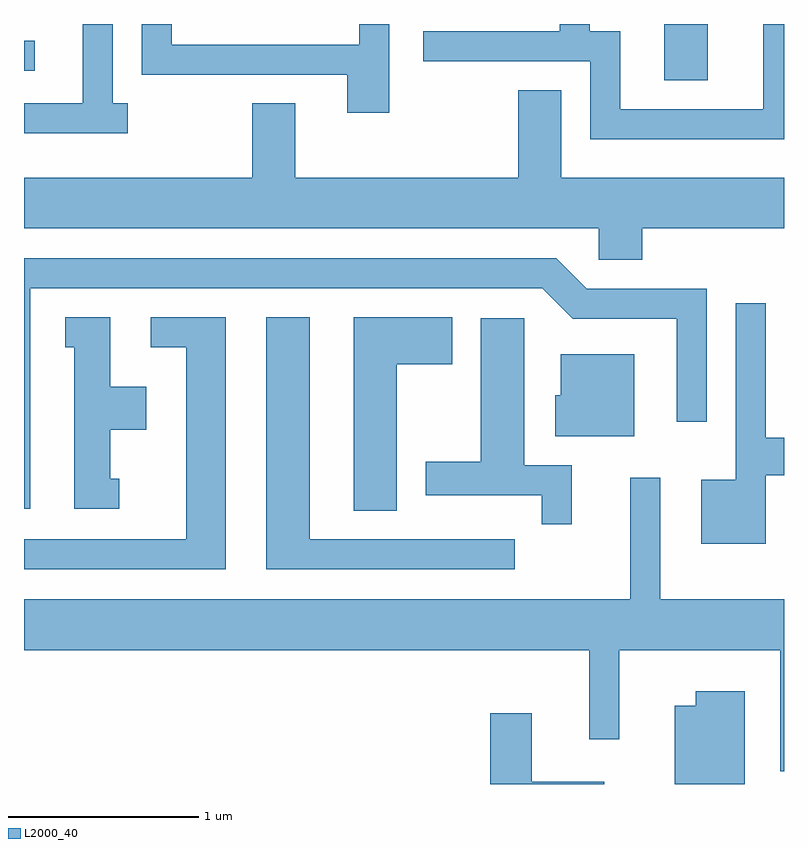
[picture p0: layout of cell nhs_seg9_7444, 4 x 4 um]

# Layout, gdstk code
import gdstk
lib = gdstk.Library(unit=1e-6, precision=1e-09)
def R(c, l, rs):  # rectangles x0, y0, x1, y1
    for r in rs: c.add(gdstk.rectangle(r[:2], r[2:], *l))
def P(c, l, *ps):  # polygons
    for p in ps: c.add(gdstk.Polygon(p, *l))
L2000_40 = (2000, 40)

nhs_seg9_7444 = lib.new_cell('nhs_seg9_7444')
R(nhs_seg9_7444, L2000_40, [(408.981,2008.136,409.209,2008.432), (405.611,2008.186,405.668,2008.344)])
P(nhs_seg9_7444, L2000_40, [(406.158,2008.014),(406.079,2008.014),(406.079,2008.432),(405.921,2008.432),(405.921,2008.014),(405.611,2008.014),(405.611,2007.856),(406.158,2007.856)],
  [(409.611,2008.432),(409.501,2008.432),(409.501,2007.984),(408.749,2007.984),(408.749,2008.394),(408.589,2008.394),(408.589,2008.432),(408.431,2008.432),(408.431,2008.394),(407.713,2008.394),(407.713,2008.236),(408.591,2008.236),(408.591,2007.826),(409.611,2007.826)],
  [(407.534,2008.432),(407.376,2008.432),(407.376,2008.324),(406.389,2008.324),(406.389,2008.432),(406.231,2008.432),(406.231,2008.166),(407.311,2008.166),(407.311,2007.966),(407.534,2007.966)],
  [(408.864,2007.356),(409.611,2007.356),(409.611,2007.624),(408.439,2007.624),(408.439,2008.084),(408.211,2008.084),(408.211,2007.624),(407.039,2007.624),(407.039,2008.014),(406.811,2008.014),(406.811,2007.624),(405.611,2007.624),(405.611,2007.356),(408.636,2007.356),(408.636,2007.191),(408.864,2007.191)],
  [(405.644,2007.041),(408.339,2007.041),(408.499,2006.881),(409.046,2006.881),(409.046,2006.338),(409.204,2006.338),(409.204,2007.039),(408.572,2007.039),(408.412,2007.199),(405.611,2007.199),(405.611,2005.881),(405.644,2005.881)],
  [(409.514,2006.056),(409.611,2006.056),(409.611,2006.254),(409.514,2006.254),(409.514,2006.963),(409.356,2006.963),(409.356,2006.034),(409.176,2006.034),(409.176,2005.696),(409.514,2005.696)],
  [(407.574,2006.641),(407.864,2006.641),(407.864,2006.889),(407.346,2006.889),(407.346,2005.871),(407.574,2005.871)],
  [(408.193,2005.719),(407.114,2005.719),(407.114,2006.889),(406.886,2006.889),(406.886,2005.561),(408.193,2005.561)],
  [(406.674,2006.889),(406.278,2006.889),(406.278,2006.731),(406.466,2006.731),(406.466,2005.719),(405.611,2005.719),(405.611,2005.561),(406.674,2005.561)],
  [(406.113,2006.039),(406.064,2006.039),(406.064,2006.296),(406.254,2006.296),(406.254,2006.524),(406.064,2006.524),(406.064,2006.889),(405.828,2006.889),(405.828,2006.731),(405.876,2006.731),(405.876,2005.881),(406.113,2005.881)],
  [(408.494,2006.109),(408.244,2006.109),(408.244,2006.884),(408.016,2006.884),(408.016,2006.129),(407.726,2006.129),(407.726,2005.951),(408.336,2005.951),(408.336,2005.798),(408.494,2005.798)],
  [(408.824,2006.694),(408.436,2006.694),(408.436,2006.479),(408.406,2006.479),(408.406,2006.261),(408.824,2006.261)],
  [(409.611,2005.404),(408.959,2005.404),(408.959,2006.043),(408.801,2006.043),(408.801,2005.404),(405.611,2005.404),(405.611,2005.136),(408.586,2005.136),(408.586,2004.668),(408.744,2004.668),(408.744,2005.136),(409.591,2005.136),(409.591,2004.498),(409.611,2004.498)],
  [(409.404,2004.919),(409.146,2004.919),(409.146,2004.844),(409.036,2004.844),(409.036,2004.432),(409.404,2004.432)],
  [(408.664,2004.444),(408.284,2004.444),(408.284,2004.804),(408.066,2004.804),(408.066,2004.432),(408.664,2004.432)])

lib.write_gds('nhs_seg9_7444.gds')
